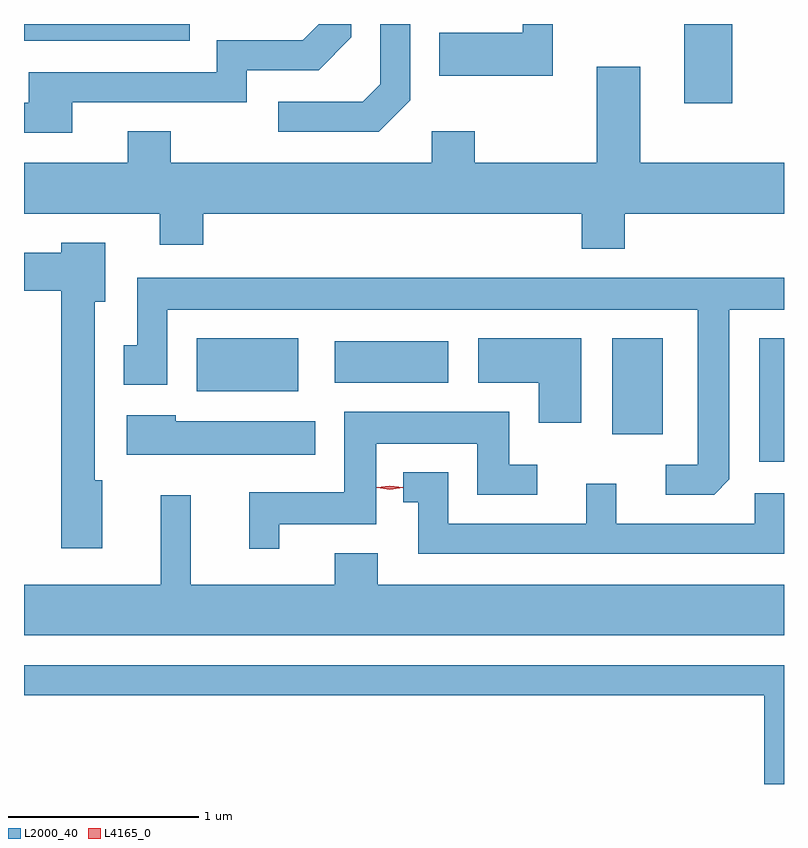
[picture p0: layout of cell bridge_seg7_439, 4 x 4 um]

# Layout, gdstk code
import gdstk
lib = gdstk.Library(unit=1e-6, precision=1e-09)
def R(c, l, rs):  # rectangles x0, y0, x1, y1
    for r in rs: c.add(gdstk.rectangle(r[:2], r[2:], *l))
def P(c, l, *ps):  # polygons
    for p in ps: c.add(gdstk.Polygon(p, *l))
L2000_40 = (2000, 40)
L4165_0 = (4165, 0)

bridge_seg7_439 = lib.new_cell('bridge_seg7_439')
R(bridge_seg7_439, L2000_40, [(1068.856,1679.711,1068.986,1680.359), (1068.081,1679.856,1068.349,1680.359), (1065.896,1680.081,1066.429,1680.359), (1066.621,1680.126,1067.219,1680.344), (1068.461,1681.596,1068.714,1682.014), (1064.986,1681.926,1065.858,1682.014)])
P(bridge_seg7_439, L2000_40, [(1067.769,1682.014),(1067.611,1682.014),(1067.611,1681.969),(1067.171,1681.969),(1067.171,1681.741),(1067.769,1681.741)],
  [(1065.239,1681.601),(1066.159,1681.601),(1066.159,1681.771),(1066.537,1681.771),(1066.709,1681.944),(1066.709,1682.014),(1066.538,1682.014),(1066.454,1681.929),(1066.001,1681.929),(1066.001,1681.759),(1065.011,1681.759),(1065.011,1681.599),(1064.986,1681.599),(1064.986,1681.441),(1065.239,1681.441)],
  [(1067.019,1681.614),(1067.019,1682.014),(1066.861,1682.014),(1066.861,1681.697),(1066.769,1681.604),(1066.323,1681.604),(1066.323,1681.446),(1066.852,1681.446)],
  [(1068.149,1681.016),(1068.986,1681.016),(1068.986,1681.284),(1068.229,1681.284),(1068.229,1681.789),(1068.001,1681.789),(1068.001,1681.284),(1067.359,1681.284),(1067.359,1681.449),(1067.131,1681.449),(1067.131,1681.284),(1065.759,1681.284),(1065.759,1681.449),(1065.531,1681.449),(1065.531,1681.284),(1064.986,1681.284),(1064.986,1681.016),(1065.701,1681.016),(1065.701,1680.851),(1065.929,1680.851),(1065.929,1681.016),(1067.921,1681.016),(1067.921,1680.831),(1068.149,1680.831)],
  [(1065.399,1679.614),(1065.359,1679.614),(1065.359,1680.551),(1065.414,1680.551),(1065.414,1680.864),(1065.181,1680.864),(1065.181,1680.809),(1064.986,1680.809),(1064.986,1680.611),(1065.181,1680.611),(1065.181,1679.256),(1065.399,1679.256)],
  [(1068.699,1679.617),(1068.699,1680.511),(1068.986,1680.511),(1068.986,1680.679),(1065.581,1680.679),(1065.581,1680.324),(1065.511,1680.324),(1065.511,1680.116),(1065.739,1680.116),(1065.739,1680.511),(1068.531,1680.511),(1068.531,1679.694),(1068.363,1679.694),(1068.363,1679.536),(1068.619,1679.536)],
  [(1067.919,1680.359),(1067.376,1680.359),(1067.376,1680.126),(1067.696,1680.126),(1067.696,1679.916),(1067.919,1679.916)],
  [(1066.329,1679.381),(1066.839,1679.381),(1066.839,1679.806),(1067.371,1679.806),(1067.371,1679.536),(1067.688,1679.536),(1067.688,1679.694),(1067.539,1679.694),(1067.539,1679.974),(1066.671,1679.974),(1066.671,1679.549),(1066.171,1679.549),(1066.171,1679.253),(1066.329,1679.253)],
  [(1066.519,1679.924),(1065.784,1679.924),(1065.784,1679.954),(1065.526,1679.954),(1065.526,1679.746),(1066.519,1679.746)],
  [(1068.986,1679.544),(1068.831,1679.544),(1068.831,1679.384),(1068.104,1679.384),(1068.104,1679.593),(1067.946,1679.593),(1067.946,1679.384),(1067.219,1679.384),(1067.219,1679.654),(1066.983,1679.654),(1066.983,1679.496),(1067.061,1679.496),(1067.061,1679.226),(1068.986,1679.226)],
  [(1068.986,1679.064),(1066.849,1679.064),(1066.849,1679.229),(1066.621,1679.229),(1066.621,1679.064),(1065.864,1679.064),(1065.864,1679.533),(1065.706,1679.533),(1065.706,1679.064),(1064.986,1679.064),(1064.986,1678.796),(1068.986,1678.796)],
  [(1068.986,1678.639),(1064.986,1678.639),(1064.986,1678.481),(1068.881,1678.481),(1068.881,1678.014),(1068.986,1678.014)])
P(bridge_seg7_439, L4165_0, [(1066.911,1679.564),(1066.842,1679.574),(1066.842,1679.574),(1066.842,1679.575),(1066.911,1679.584),(1066.981,1679.575),(1066.981,1679.574),(1066.981,1679.574)])

lib.write_gds('bridge_seg7_439.gds')
